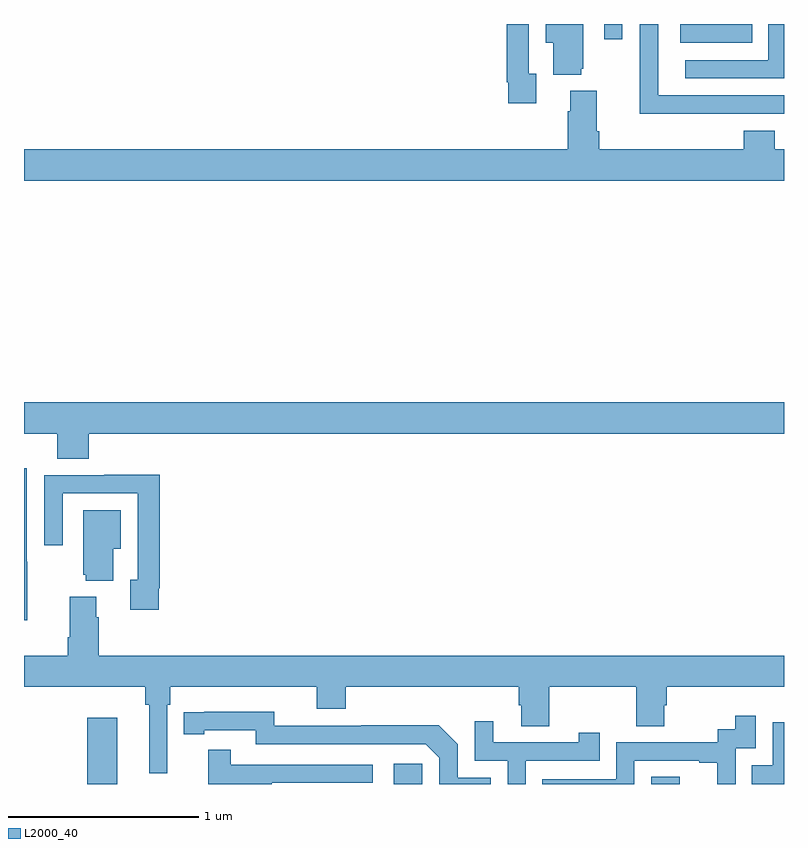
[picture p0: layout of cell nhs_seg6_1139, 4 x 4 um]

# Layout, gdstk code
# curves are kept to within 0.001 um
import gdstk
lib = gdstk.Library(unit=1e-6, precision=1e-09)
def R(c, l, rs):  # rectangles x0, y0, x1, y1
    for r in rs: c.add(gdstk.rectangle(r[:2], r[2:], *l))
def P(c, l, *ps):  # polygons
    for p in ps: c.add(gdstk.Polygon(p, *l))
L2000_40 = (2000, 40)

nhs_seg6_1139 = lib.new_cell('nhs_seg6_1139')
R(nhs_seg6_1139, L2000_40, [(181.334,937.5,181.492,937.849), (182.946,937.5,183.096,937.606), (184.302,937.5,184.45,937.537), (184.454,941.402,184.832,941.5), (184.053,941.421,184.149,941.5)])
P(nhs_seg6_1139, L2000_40, [(183.697,941.238),(183.657,941.238),(183.657,941.5),(183.541,941.5),(183.541,941.194),(183.549,941.194),(183.549,941.082),(183.697,941.082)],
  [(183.932,941.265),(183.943,941.265),(183.943,941.5),(183.746,941.5),(183.746,941.402),(183.785,941.402),(183.785,941.234),(183.932,941.234)],
  [(185,941.5),(184.917,941.5),(184.917,941.31),(184.479,941.31),(184.479,941.214),(185,941.214)],
  [(184.703,941.028),(185,941.028),(185,941.124),(184.338,941.124),(184.338,941.5),(184.242,941.5),(184.242,941.333),(184.24,941.333),(184.24,941.027),(184.703,941.027)],
  [(185,940.84),(184.952,940.84),(184.952,940.939),(184.787,940.939),(184.787,940.84),(184.028,940.84),(184.028,940.936),(184.015,940.936),(184.015,941.149),(183.875,941.149),(183.875,941.042),(183.863,941.042),(183.863,940.84),(181,940.84),(181,940.676),(185,940.676)],
  [(181.34,939.344),(185,939.344),(185,939.508),(181,939.508),(181,939.344),(181.175,939.344),(181.175,939.211),(181.34,939.211)],
  [(181.017,938.669),(181.014,938.669),(181.014,939.163),(181,939.163),(181,938.363),(181.017,938.363)],
  [(181.708,938.53),(181.715,938.53),(181.715,939.128),(181.423,939.128),(181.423,939.126),(181.107,939.126),(181.107,938.757),(181.203,938.757),(181.203,939.03),(181.599,939.03),(181.599,938.574),(181.559,938.574),(181.559,938.418),(181.708,938.418)],
  [(181.471,938.738),(181.51,938.738),(181.51,938.941),(181.313,938.941),(181.313,938.601),(181.325,938.601),(181.325,938.57),(181.471,938.57)],
  [(181.755,937.916),(181.769,937.916),(181.769,938.012),(182.54,938.012),(182.54,937.895),(182.693,937.895),(182.693,938.012),(183.605,938.012),(183.605,937.914),(183.617,937.914),(183.617,937.804),(183.765,937.804),(183.765,938.012),(184.222,938.012),(184.222,937.804),(184.369,937.804),(184.369,937.914),(184.382,937.914),(184.382,938.012),(185,938.012),(185,938.176),(181.394,938.176),(181.394,938.378),(181.381,938.378),(181.381,938.485),(181.241,938.485),(181.241,938.272),(181.229,938.272),(181.229,938.176),(181,938.176),(181,938.012),(181.639,938.012),(181.639,937.916),(181.658,937.916),(181.658,937.557),(181.755,937.557)],
  [(183.456,937.533),(183.282,937.533),(183.282,937.71),(183.184,937.808),(182.776,937.808),(182.776,937.806),(182.316,937.806),(182.316,937.879),(181.84,937.878),(181.84,937.762),(181.948,937.762),(181.948,937.782),(182.22,937.782),(182.22,937.71),(183.114,937.71),(183.186,937.638),(183.186,937.5),(183.456,937.5)],
  [(184.212,937.623),(184.553,937.623),(184.553,937.611),(184.649,937.611),(184.649,937.5),(184.746,937.5),(184.746,937.689),(184.851,937.689),(184.851,937.858),(184.743,937.858),(184.743,937.788),(184.65,937.788),(184.65,937.719),(184.116,937.719),(184.116,937.524),(183.727,937.524),(183.727,937.5),(184.212,937.5)],
  [(183.642,937.623),(184.031,937.623),(184.031,937.771),(183.92,937.771),(183.92,937.719),(183.469,937.719),(183.469,937.831),(183.372,937.831),(183.372,937.623),(183.546,937.623),(183.546,937.5),(183.642,937.5)],
  [(185,937.824),(184.941,937.824),(184.941,937.599),(184.831,937.599),(184.831,937.5),(185,937.5)],
  [(182.303,937.506),(182.836,937.506),(182.836,937.602),(182.087,937.602),(182.087,937.681),(181.97,937.681),(181.97,937.5),(182.303,937.5)])

lib.write_gds('nhs_seg6_1139.gds')
